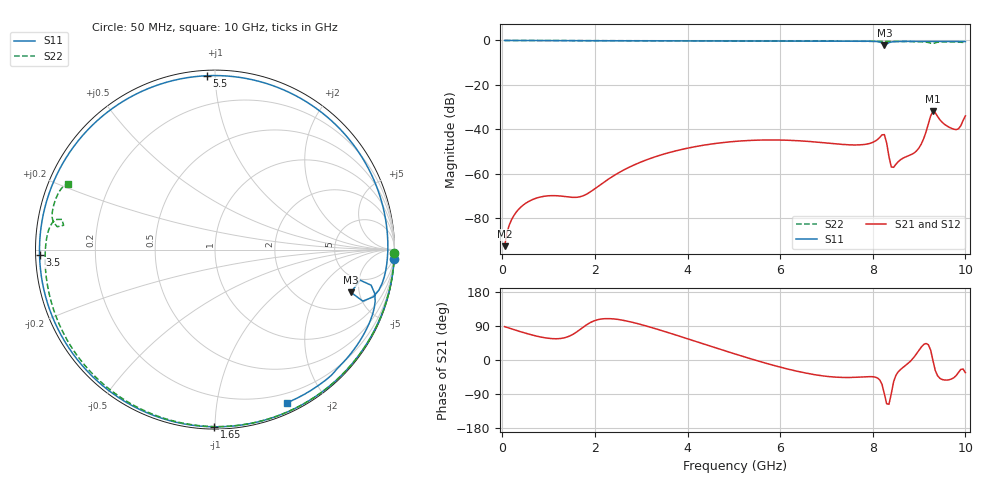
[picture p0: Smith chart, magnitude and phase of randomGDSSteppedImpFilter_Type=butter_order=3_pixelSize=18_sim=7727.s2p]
! freq	dB(S11)	phase(S11)	dB(S12)	phase(S12)
!  dB(S21)	phase(S21)	dB(S22)	phase(S22)
!S-par simulation data
#  GHz  S  DB  R 50
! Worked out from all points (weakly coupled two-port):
!   200 points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, 50 MHz to 10 GHz, reference 50 ohm
!   highest |S21| = -31.78 dB at 9.3 GHz (marker M1); lowest = -92.4 dB at 50 MHz (marker M2)
!   lowest |S11| = -2.0 dB at 8.25 GHz (marker M3), VSWR 8.72, Z = 160 - j206 ohm
!   |S11| at or under -10 dB: nowhere
!   |S22| runs from -1.4 to 0.0 dB; largest |S21 - S12| = 0
!   S11 on the Smith chart (normalised r, x): 50 MHz: 0, -40; 1.65 GHz: 0.01, -1.00; 3.5 GHz: 0.01, -0.02; 5.5 GHz: 0.03, +0.95; 10 GHz: 0.10, -1.57
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0.05  -0.00 -2.9  -92.44 88.0  -92.44 88.0  -0.00 -1.2
0.75  -0.06 -42.2  -70.75 62.8  -70.75 62.8  -0.02 -17.6
1.65  -0.11 -90.2  -70.36 77.8  -70.36 77.8  -0.05 -38.2
1.75  -0.11 -95.3  -69.76 86.9  -69.76 86.9  -0.05 -40.5
2.65  -0.16 -139.1  -57.91 103.8  -57.91 103.8  -0.08 -60.3
3.4  -0.19 -173.7  -51.61 79.2  -51.61 79.2  -0.10 -76.2
3.5  -0.19 -178.2  -50.99 75.5  -50.99 75.5  -0.10 -78.3
4.2  -0.22 150.4  -47.59 48.2  -47.59 48.2  -0.13 -92.5
5.05  -0.25 112.5  -45.32 15.0  -45.32 15.0  -0.17 -109.1
5.5  -0.27 92.7  -44.80 -1.7  -44.80 -1.7  -0.19 -117.7
6.7  -0.29 41.7  -45.52 -37.8  -45.52 -37.8  -0.27 -140.2
7.7  -0.32 2.7  -46.94 -45.2  -46.94 -45.2  -0.36 -159.0
8.1  -0.53 -13.9  -44.56 -47.4  -44.56 -47.4  -0.40 -166.7
8.25  -2.00 -17.5  -42.31 -89.3  -42.31 -89.3  -0.42 -169.6
8.35  -0.99 -12.9  -52.25 -116.8  -52.25 -116.8  -0.43 -171.6
8.4  -0.69 -15.4  -56.85 -89.0  -56.85 -89.0  -0.43 -172.6
8.45  -0.56 -17.8  -57.01 -57.2  -57.01 -57.2  -0.44 -173.6
8.95  -0.41 -35.6  -49.52 17.4  -49.52 17.4  -0.54 175.7
9.1  -0.43 -40.1  -44.07 40.9  -44.07 40.9  -0.65 172.0
9.3  -0.42 -45.7  -31.78 -1.8  -31.78 -1.8  -1.37 170.9
9.8  -0.48 -59.7  -40.06 -41.1  -40.06 -41.1  -0.67 159.4
10  -0.50 -64.7  -33.91 -33.4  -33.91 -33.4  -0.96 156.0
